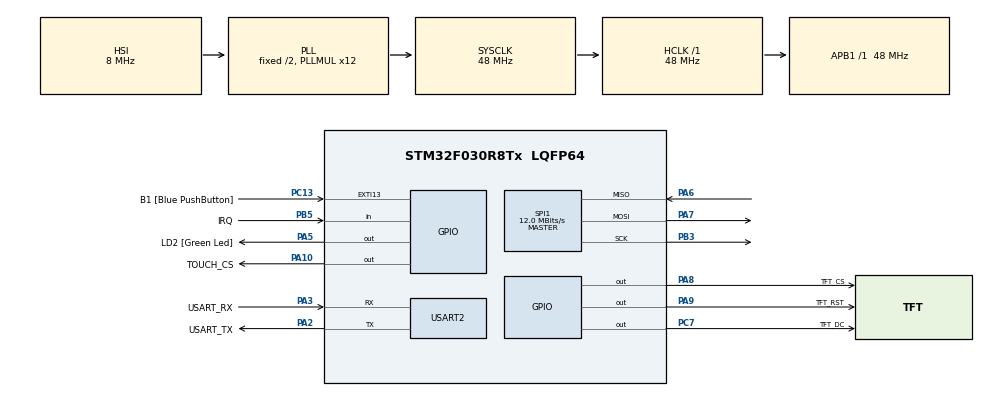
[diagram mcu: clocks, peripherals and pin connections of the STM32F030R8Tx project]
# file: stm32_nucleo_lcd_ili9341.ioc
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Mcu.Family=STM32F0
Mcu.Name=STM32F030R8Tx
Mcu.Package=LQFP64
PA10.GPIO_Label=TOUCH_CS
PA10.Signal=GPIO_Output
PA13.GPIO_Label=TMS
PA13.Mode=Serial_Wire
PA13.Signal=SYS_SWDIO
PA14.GPIO_Label=TCK
PA14.Mode=Serial_Wire
PA14.Signal=SYS_SWCLK
PA2.GPIO_Label=USART_TX
PA2.GPIO_Mode=GPIO_MODE_AF_PP
PA2.GPIO_PuPd=GPIO_NOPULL
PA2.GPIO_Speed=GPIO_SPEED_FREQ_LOW
PA2.Mode=Asynchronous
PA2.Signal=USART2_TX
PA3.GPIO_Label=USART_RX
PA3.GPIO_Mode=GPIO_MODE_AF_PP
PA3.GPIO_PuPd=GPIO_NOPULL
PA3.GPIO_Speed=GPIO_SPEED_FREQ_LOW
PA3.Mode=Asynchronous
PA3.Signal=USART2_RX
PA5.GPIO_Label=LD2 [Green Led]
PA5.GPIO_Mode=GPIO_MODE_OUTPUT_PP
PA5.GPIO_PuPd=GPIO_NOPULL
PA5.GPIO_Speed=GPIO_SPEED_FREQ_LOW
PA5.Signal=GPIO_Output
PA6.Mode=Full_Duplex_Master
PA6.Signal=SPI1_MISO
PA7.Mode=Full_Duplex_Master
PA7.Signal=SPI1_MOSI
PA8.GPIO_Label=TFT_CS
PA8.Signal=GPIO_Output
PA9.GPIO_Label=TFT_RST
PA9.Signal=GPIO_Output
PB3.Mode=Full_Duplex_Master
PB3.Signal=SPI1_SCK
PB5.GPIO_Label=IRQ
PB5.Signal=GPIO_Input
PC13.GPIO_Label=B1 [Blue PushButton]
PC13.GPIO_ModeDefaultEXTI=GPIO_MODE_IT_FALLING
PC13.Signal=GPXTI13
PC14-OSC32_IN.Mode=LSE-External-Oscillator
PC14-OSC32_IN.Signal=RCC_OSC32_IN
PC15-OSC32_OUT.Mode=LSE-External-Oscillator
PC15-OSC32_OUT.Signal=RCC_OSC32_OUT
PC7.GPIO_Label=TFT_DC
PC7.Signal=GPIO_Output
PF0-OSC_IN.Mode=HSE-External-Clock-Source
PF0-OSC_IN.Signal=RCC_OSC_IN
PF1-OSC_OUT.Signal=RCC_OSC_OUT
ProjectManager.HeapSize=0x200
ProjectManager.StackSize=0x400
ProjectManager.TargetToolchain=STM32CubeIDE
RCC.AHBFreq_Value=48000000
RCC.APB1Freq_Value=48000000
RCC.APB1TimFreq_Value=48000000
RCC.HCLKFreq_Value=48000000
RCC.PLLMUL=RCC_PLL_MUL12
RCC.SYSCLKFreq_VALUE=48000000
RCC.SYSCLKSource=RCC_SYSCLKSOURCE_PLLCLK
SPI1.BaudRatePrescaler=SPI_BAUDRATEPRESCALER_4
SPI1.CalculateBaudRate=12.0 MBits/s
SPI1.DataSize=SPI_DATASIZE_8BIT
SPI1.Direction=SPI_DIRECTION_2LINES
SPI1.Mode=SPI_MODE_MASTER
SPI1.VirtualType=VM_MASTER
USART2.VirtualMode-Asynchronous=VM_ASYNC
board=NUCLEO-F030R8

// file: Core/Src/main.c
/* USER CODE BEGIN Header */
/**
  ******************************************************************************
  * @file           : main.c
  * @brief          : Main program body
  ******************************************************************************
  * @attention
  *
  * Copyright (c) 2024 STMicroelectronics.
  * All rights reserved.
  *
  * This software is licensed under terms that can be found in the LICENSE file
  * in the root directory of this software component.
  * If no LICENSE file comes with this software, it is provided AS-IS.
  *
  ******************************************************************************
  */
/* USER CODE END Header */
#include "main.h"

/* USER CODE BEGIN Includes */

#include "ILI9341_GFX.h"
#include "fonts.h"
#include "img.h"
#include "xpt2046_touch.h"

/* USER CODE END Includes */

SPI_HandleTypeDef hspi1;

UART_HandleTypeDef huart2;

void SystemClock_Config(void);
static void MX_GPIO_Init(void);
static void MX_USART2_UART_Init(void);
static void MX_SPI1_Init(void);

int main(void)
{

  /* MCU Configuration--------------------------------------------------------*/

  /* Reset of all peripherals, Initializes the Flash interface and the Systick. */
  HAL_Init();

  /* Configure the system clock */
  SystemClock_Config();

  /* Initialize all configured peripherals */
  MX_GPIO_Init();
  MX_USART2_UART_Init();
  MX_SPI1_Init();
  /* USER CODE BEGIN 2 */

  	__HAL_SPI_ENABLE(DISP_SPI_PTR); // включаем SPI

    DISP_CS_UNSELECT;
    TOUCH_CS_UNSELECT;

    /////////////////////////////////////////////////////////////////////////////////////////////////////////////////
    ILI9341_Init(); // инициализация дисплея

    /////////////////////////// далее демонстрируются различные пользовательские функции ////////////////////////////
    ILI9341_Set_Rotation(SCREEN_HORIZONTAL_1); // установка ориентации экрана (варианты в файле ILI9341_GFX.h)

    /////////////////////////////////////////////////////////////////////////////////////////////////////////////////
    ILI9341_Fill_Screen(BLACK); // заливка всего экрана цветом (цвета в файле ILI9341_GFX.h)

    /////////////////////////////////////////////////////////////////////////////////////////////////////////////////
    /* вывод строк разными шрифтами (шрифты определены в файле fonts.h, а массивы шрифтов в файле fonts.c)
    первый и второй аргумент это начало координат (справа, сверху), четвёртый аргумент шрифт
    два последних аргумента это цвет шрифта и цвет фона шрифта */

    ILI9341_WriteString(10, 10, "Hello World", Font_7x10, WHITE, BLACK); // можно передавать непосредственно текст
    ILI9341_WriteString(20, 30, "Hello World", Font_11x18, WHITE, MYFON);
    ILI9341_WriteString(30, 60, "Hello World", Font_16x26, BLUE, DARKGREEN);

    char txt_buf[] = "Hello World";
    ILI9341_WriteString(40, 96, txt_buf, Font_16x26, RED, GREEN); // можно передавать массив

    HAL_Delay(1000);

    ILI9341_Fill_Screen(MYFON);

    /////////////////////////////////////////////////////////////////////////////////////////////////////////////////
    ILI9341_Draw_Pixel(100, 100, WHITE); // рисует пиксель (координаты и цвет)
    HAL_Delay(300);
    ILI9341_Draw_Pixel(102, 100, MAROON);
    HAL_Delay(300);
    ILI9341_Draw_Pixel(100, 102, BLUE);
    HAL_Delay(300);
    ILI9341_Draw_Pixel(102, 102, RED);
    HAL_Delay(300);

    for(uint8_t i = 0; i < 100; i++)
    {
            ILI9341_Draw_Pixel(i, 20, WHITE);
            HAL_Delay(10);
    }

    for(uint8_t i = 0; i < 100; i++)
    {
            ILI9341_Draw_Pixel(40, i, BLUE);
            HAL_Delay(10);
    }
//
    for(uint8_t i = 0; i < 100; i++)
    {
            ILI9341_Draw_Pixel(i, i, RED);
            HAL_Delay(10);
    }

    HAL_Delay(1000);
//
    ILI9341_Fill_Screen(MYFON);

    /////////////////////////////////////////////////////////////////////////////////////////////////////////////////
    ILI9341_Draw_Rectangle(10, 10, 50, 70, WHITE); // рисует закрашеный прямоугольник (первые два аргумента это начальные координаты, а следующие два это ширина и высота)

    HAL_Delay(1000);

    ILI9341_Fill_Screen(MYFON);

    /////////////////////////////////////////////////////////////////////////////////////////////////////////////////
    ILI9341_Draw_Horizontal_Line(10, 10, 200, WHITE); // рисует горизонтальную линию (первые два аргумента это начальные координаты, а третий длина)

    HAL_Delay(1000);

    ILI9341_Fill_Screen(MYFON);

    /////////////////////////////////////////////////////////////////////////////////////////////////////////////////
    ILI9341_Draw_Vertical_Line(10, 10, 200, WHITE); // рисует вертикальную линию (первые два аргумента это начальные координаты, а третий длина)

    HAL_Delay(1000);

    ILI9341_Fill_Screen(MYFON);

    /////////////////////////////////////////////////////////////////////////////////////////////////////////////////
    ILI9341_Random_line(160, 120, 50, 175, WHITE); // рисует произвольную линию (первые два аргумента это начальные координаты, а третий и четвёртый - конечные)

    HAL_Delay(1000);

    ILI9341_Random_line(123, 180, 150, 75, WHITE);

    HAL_Delay(1000);

    ILI9341_Fill_Screen(MYFON);

    /////////////////////////////////////////////////////////////////////////////////////////////////////////////////
    ILI9341_Draw_Hollow_Circle(100, 100, 50, WHITE); // рисует прозрачный круг (первые два аргумента это координаты центра, а третий радиус)

    HAL_Delay(1000);

    ILI9341_Fill_Screen(MYFON);

    /////////////////////////////////////////////////////////////////////////////////////////////////////////////////
    ILI9341_Draw_Filled_Circle(150, 100, 40, WHITE); // рисует закрашеный круг (первые два аргумента это координаты центра, а третий радиус)

    HAL_Delay(1000);

    ILI9341_Fill_Screen(MYFON);

    /////////////////////////////////////////////////////////////////////////////////////////////////////////////////
    ILI9341_Draw_Hollow_Rectangle_Coord(10, 10, 50, 70, WHITE); // рисует прозрачный прямоугольник (первые два аргумента это начальные координаты, а вторые два конечные)

    HAL_Delay(1000);

    ILI9341_Fill_Screen(MYFON);

    /////////////////////////////////////////////////////////////////////////////////////////////////////////////////
    ILI9341_Draw_Filled_Rectangle_Coord(20, 20, 70, 60, WHITE); // рисует закрашеный прямоугольник (первые два аргумента это начальные координаты, а вторые два конечные)

    HAL_Delay(1000);

    ILI9341_Fill_Screen(MYFON);

    ////////////////////////////////// ВЫВОД КАРТ�?НК�? �?З МАСС�?ВА //////////////////////////////////////////
    uint16_t size_img = sizeof(img_logo); // размер картинки в байтах (картинка лежит в файле img.h)

    ILI9341_Draw_Image(img_logo, 30, 30, 80, 80, size_img); // подробности см. в статье

    HAL_Delay(1000);

    //////////////////////////////////// смена ориентации экрана ///////////////////////////////////////

    ILI9341_Fill_Screen(MYFON);
    ILI9341_Set_Rotation(SCREEN_VERTICAL_1);
    ILI9341_Draw_Image(img_logo, 30, 30, 80, 80, size_img);
    ILI9341_WriteString(30, 120, "SCREEN_VERTICAL_1", Font_11x18, WHITE, MYFON);
    HAL_Delay(1000);

    ILI9341_Fill_Screen(MYFON);
    ILI9341_Set_Rotation(SCREEN_HORIZONTAL_1);
    ILI9341_Draw_Image(img_logo, 30, 30, 80, 80, size_img);
    ILI9341_WriteString(30, 120, "SCREEN_HORIZONTAL_1", Font_11x18, WHITE, MYFON);
    HAL_Delay(1000);

    ILI9341_Fill_Screen(MYFON);
    ILI9341_Set_Rotation(SCREEN_VERTICAL_2);
    ILI9341_Draw_Image(img_logo, 30, 30, 80, 80, size_img);
    ILI9341_WriteString(30, 120, "SCREEN_VERTICAL_2", Font_11x18, WHITE, MYFON);
    HAL_Delay(1000);

    ILI9341_Fill_Screen(MYFON);
    ILI9341_Set_Rotation(SCREEN_HORIZONTAL_2);
    ILI9341_Draw_Image(img_logo, 30, 30, 80, 80, size_img);
    ILI9341_WriteString(30, 120, "SCREEN_HORIZONTAL_2", Font_11x18, WHITE, MYFON);

  /* USER CODE END 2 */

  /* Infinite loop */
  while (1)
  {

  }
}

void SystemClock_Config(void)
{
  RCC_OscInitTypeDef RCC_OscInitStruct = {0};
  RCC_ClkInitTypeDef RCC_ClkInitStruct = {0};

  /** Initializes the RCC Oscillators according to the specified parameters
  * in the RCC_OscInitTypeDef structure.
  */
  RCC_OscInitStruct.OscillatorType = RCC_OSCILLATORTYPE_HSI;
  RCC_OscInitStruct.HSIState = RCC_HSI_ON;
  RCC_OscInitStruct.HSICalibrationValue = RCC_HSICALIBRATION_DEFAULT;
  RCC_OscInitStruct.PLL.PLLState = RCC_PLL_ON;
  RCC_OscInitStruct.PLL.PLLSource = RCC_PLLSOURCE_HSI;
  RCC_OscInitStruct.PLL.PLLMUL = RCC_PLL_MUL12;
  RCC_OscInitStruct.PLL.PREDIV = RCC_PREDIV_DIV1;
  if (HAL_RCC_OscConfig(&RCC_OscInitStruct) != HAL_OK)
  {
    Error_Handler();
  }

  /** Initializes the CPU, AHB and APB buses clocks
  */
  RCC_ClkInitStruct.ClockType = RCC_CLOCKTYPE_HCLK|RCC_CLOCKTYPE_SYSCLK
                              |RCC_CLOCKTYPE_PCLK1;
  RCC_ClkInitStruct.SYSCLKSource = RCC_SYSCLKSOURCE_PLLCLK;
  RCC_ClkInitStruct.AHBCLKDivider = RCC_SYSCLK_DIV1;
  RCC_ClkInitStruct.APB1CLKDivider = RCC_HCLK_DIV1;

  if (HAL_RCC_ClockConfig(&RCC_ClkInitStruct, FLASH_LATENCY_1) != HAL_OK)
  {
    Error_Handler();
  }
}

static void MX_SPI1_Init(void)
{

  /* SPI1 parameter configuration*/
  hspi1.Instance = SPI1;
  hspi1.Init.Mode = SPI_MODE_MASTER;
  hspi1.Init.Direction = SPI_DIRECTION_2LINES;
  hspi1.Init.DataSize = SPI_DATASIZE_8BIT;
  hspi1.Init.CLKPolarity = SPI_POLARITY_LOW;
  hspi1.Init.CLKPhase = SPI_PHASE_1EDGE;
  hspi1.Init.NSS = SPI_NSS_SOFT;
  hspi1.Init.BaudRatePrescaler = SPI_BAUDRATEPRESCALER_4;
  hspi1.Init.FirstBit = SPI_FIRSTBIT_MSB;
  hspi1.Init.TIMode = SPI_TIMODE_DISABLE;
  hspi1.Init.CRCCalculation = SPI_CRCCALCULATION_DISABLE;
  hspi1.Init.CRCPolynomial = 7;
  hspi1.Init.CRCLength = SPI_CRC_LENGTH_DATASIZE;
  hspi1.Init.NSSPMode = SPI_NSS_PULSE_ENABLE;
  if (HAL_SPI_Init(&hspi1) != HAL_OK)
  {
    Error_Handler();
  }

}

static void MX_USART2_UART_Init(void)
{

  huart2.Instance = USART2;
  huart2.Init.BaudRate = 38400;
  huart2.Init.WordLength = UART_WORDLENGTH_8B;
  huart2.Init.StopBits = UART_STOPBITS_1;
  huart2.Init.Parity = UART_PARITY_NONE;
  huart2.Init.Mode = UART_MODE_TX_RX;
  huart2.Init.HwFlowCtl = UART_HWCONTROL_NONE;
  huart2.Init.OverSampling = UART_OVERSAMPLING_16;
  huart2.Init.OneBitSampling = UART_ONE_BIT_SAMPLE_DISABLE;
  huart2.AdvancedInit.AdvFeatureInit = UART_ADVFEATURE_NO_INIT;
  if (HAL_UART_Init(&huart2) != HAL_OK)
  {
    Error_Handler();
  }

}

static void MX_GPIO_Init(void)
{
  GPIO_InitTypeDef GPIO_InitStruct = {0};

  /* GPIO Ports Clock Enable */
  __HAL_RCC_GPIOC_CLK_ENABLE();
  __HAL_RCC_GPIOF_CLK_ENABLE();
  __HAL_RCC_GPIOA_CLK_ENABLE();
  __HAL_RCC_GPIOB_CLK_ENABLE();

  /*Configure GPIO pin Output Level */
  HAL_GPIO_WritePin(GPIOA, LD2_Pin|TFT_CS_Pin|TFT_RST_Pin|TOUCH_CS_Pin, GPIO_PIN_RESET);

  /*Configure GPIO pin Output Level */
  HAL_GPIO_WritePin(TFT_DC_GPIO_Port, TFT_DC_Pin, GPIO_PIN_RESET);

  /*Configure GPIO pin : B1_Pin */
  GPIO_InitStruct.Pin = B1_Pin;
  GPIO_InitStruct.Mode = GPIO_MODE_IT_FALLING;
  GPIO_InitStruct.Pull = GPIO_NOPULL;
  HAL_GPIO_Init(B1_GPIO_Port, &GPIO_InitStruct);

  /*Configure GPIO pins : LD2_Pin TFT_CS_Pin TFT_RST_Pin TOUCH_CS_Pin */
  GPIO_InitStruct.Pin = LD2_Pin|TFT_CS_Pin|TFT_RST_Pin|TOUCH_CS_Pin;
  GPIO_InitStruct.Mode = GPIO_MODE_OUTPUT_PP;
  GPIO_InitStruct.Pull = GPIO_NOPULL;
  GPIO_InitStruct.Speed = GPIO_SPEED_FREQ_LOW;
  HAL_GPIO_Init(GPIOA, &GPIO_InitStruct);

  /*Configure GPIO pin : TFT_DC_Pin */
  GPIO_InitStruct.Pin = TFT_DC_Pin;
  GPIO_InitStruct.Mode = GPIO_MODE_OUTPUT_PP;
  GPIO_InitStruct.Pull = GPIO_NOPULL;
  GPIO_InitStruct.Speed = GPIO_SPEED_FREQ_LOW;
  HAL_GPIO_Init(TFT_DC_GPIO_Port, &GPIO_InitStruct);

  /*Configure GPIO pin : IRQ_Pin */
  GPIO_InitStruct.Pin = IRQ_Pin;
  GPIO_InitStruct.Mode = GPIO_MODE_INPUT;
  GPIO_InitStruct.Pull = GPIO_NOPULL;
  HAL_GPIO_Init(IRQ_GPIO_Port, &GPIO_InitStruct);

}

void Error_Handler(void)
{
  __disable_irq();
  while (1)
  {
  }
}
